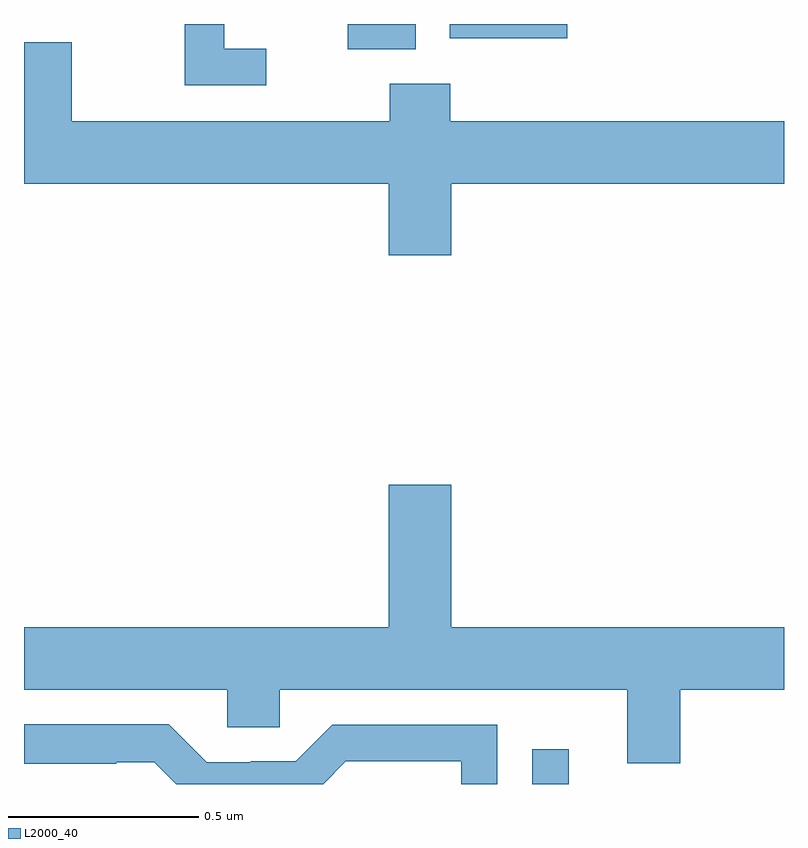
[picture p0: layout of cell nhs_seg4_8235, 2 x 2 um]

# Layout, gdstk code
import gdstk
lib = gdstk.Library(unit=1e-6, precision=1e-09)
def R(c, l, rs):  # rectangles x0, y0, x1, y1
    for r in rs: c.add(gdstk.rectangle(r[:2], r[2:], *l))
def P(c, l, *ps):  # polygons
    for p in ps: c.add(gdstk.Polygon(p, *l))
L2000_40 = (2000, 40)

nhs_seg4_8235 = lib.new_cell('nhs_seg4_8235')
R(nhs_seg4_8235, L2000_40, [(213.337,801.9,213.433,801.991), (212.852,803.834,213.031,803.9), (213.12,803.863,213.43,803.9)])
P(nhs_seg4_8235, L2000_40, [(212.638,803.835),(212.527,803.835),(212.527,803.9),(212.423,803.9),(212.423,803.739),(212.638,803.739)],
  [(212.962,803.743),(212.962,803.644),(212.125,803.644),(212.125,803.852),(212,803.852),(212,803.48),(212.96,803.48),(212.96,803.292),(213.124,803.292),(213.124,803.48),(214,803.48),(214,803.644),(213.122,803.644),(213.122,803.743)],
  [(213.727,802.148),(214,802.148),(214,802.312),(213.124,802.312),(213.124,802.687),(212.96,802.687),(212.96,802.312),(212,802.312),(212,802.148),(212.535,802.148),(212.535,802.05),(212.673,802.05),(212.673,802.148),(213.587,802.148),(213.587,801.954),(213.727,801.954)],
  [(212.847,801.96),(213.15,801.96),(213.15,801.9),(213.246,801.9),(213.246,802.056),(212.811,802.056),(212.715,801.96),(212.597,801.96),(212.597,801.957),(212.481,801.957),(212.381,802.057),(212,802.057),(212,801.953),(212.243,801.953),(212.243,801.957),(212.343,801.957),(212.4,801.9),(212.787,801.9)])

lib.write_gds('nhs_seg4_8235.gds')
